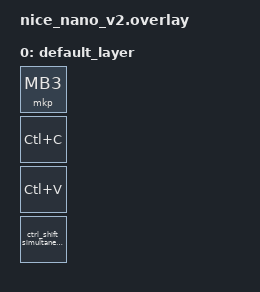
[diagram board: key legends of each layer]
#include <behaviors.dtsi>
#include <dt-bindings/zmk/keys.h>
#include <dt-bindings/zmk/matrix_transform.h>
#include <dt-bindings/zmk/mouse.h>

/ {
    behaviors {
        ml: behavior_momentary_layer {
            compatible = "zmk,behavior-momentary-layer";
            #binding-cells = <1>;
        };
        ctrl_shift_simultaneous: behavior_macro {
            compatible = "zmk,behavior-macro";
            #binding-cells = <0>;
            bindings = <
                &macro_press &kp LCTRL &kp LSHFT
                &macro_pause_for_release
                &macro_release &kp LSHFT &kp LCTRL
            >;
        };
    };
    chosen {
        zmk,kscan = &kscan0;
        zmk,matrix_transform = &default_transform;
        zmk,battery = &vbatt;  // ← ДОБАВЛЕНО
    };
    default_transform: keymap_transform {
        compatible = "zmk,matrix-transform";
        rows = <1>;
        columns = <4>;
        map = <RC(0,0) RC(0,1) RC(0,2) RC(0,3)>;
    };
    kscan0: kscan {
        compatible = "zmk,kscan-gpio-direct";
        label = "KSCAN";
        input-gpios = <&gpio1 11 (GPIO_ACTIVE_LOW | GPIO_PULL_UP)>,
                      <&gpio0 9 (GPIO_ACTIVE_LOW | GPIO_PULL_UP)>,
                      <&gpio1 13 (GPIO_ACTIVE_LOW | GPIO_PULL_UP)>,
                      <&gpio0 10 (GPIO_ACTIVE_LOW | GPIO_PULL_UP)>;
    };
    vbatt: vbatt {
        compatible = "zmk,battery-voltage-divider";
        label = "VBATT";
        io-channels = <&adc 2>;
        output-ohms = <2000000>;
        full-ohms = <2820000>; // 2M + 820k

        // НОРМАЛЬНЫЕ ГРАНИЦЫ LiPo:
        zmk,battery-min-mv = <3300>;   // разряжен
        zmk,battery-max-mv = <4200>;   // полностью заряжен
    };
    keymap {
        compatible = "zmk,keymap";
        default_layer {
            bindings = <&mkp MB3
                        &kp LC(C)
                        &kp LC(V)
                        &ctrl_shift_simultaneous>;
        };
    };
};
